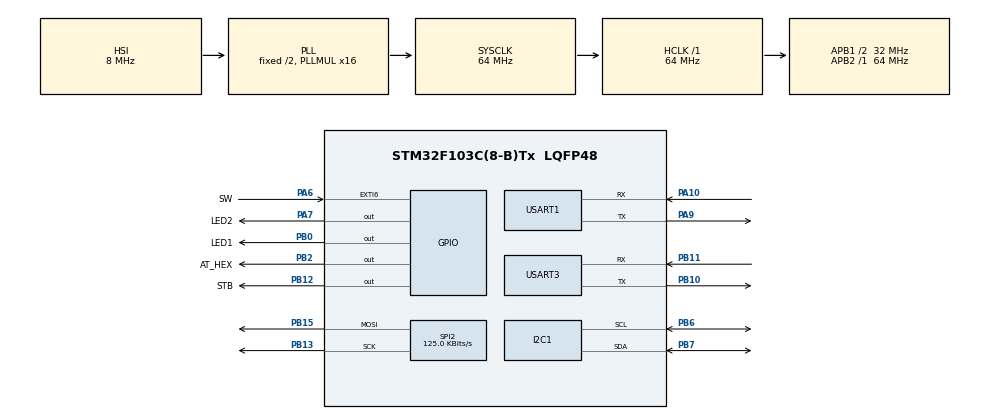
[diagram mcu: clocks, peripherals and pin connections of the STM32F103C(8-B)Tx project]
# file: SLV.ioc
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I2C1.DutyCycle=I2C_DUTYCYCLE_2
I2C1.I2C_Mode=I2C_Fast
Mcu.Family=STM32F1
Mcu.Name=STM32F103C(8-B)Tx
Mcu.Package=LQFP48
NVIC.EXTI9_5_IRQn=true\:2\:1\:true\:false\:true\:true\:true
NVIC.PriorityGroup=NVIC_PRIORITYGROUP_3
NVIC.TIM1_UP_IRQn=true\:2\:0\:true\:false\:true\:true\:true
NVIC.USART1_IRQn=true\:1\:0\:true\:false\:true\:true\:true
NVIC.USART3_IRQn=true\:1\:0\:true\:false\:true\:true\:true
PA10.Mode=Asynchronous
PA10.Signal=USART1_RX
PA13.Mode=Trace_Asynchronous_SW
PA13.Signal=SYS_JTMS-SWDIO
PA14.Mode=Trace_Asynchronous_SW
PA14.Signal=SYS_JTCK-SWCLK
PA6.GPIO_Label=SW
PA6.GPIO_ModeDefaultEXTI=GPIO_MODE_IT_RISING_FALLING
PA6.GPIO_PuPd=GPIO_PULLDOWN
PA6.Signal=GPXTI6
PA7.GPIO_Label=LED2
PA7.Signal=GPIO_Output
PA9.Mode=Asynchronous
PA9.Signal=USART1_TX
PB0.GPIO_Label=LED1
PB0.Signal=GPIO_Output
PB10.Mode=Asynchronous
PB10.Signal=USART3_TX
PB11.Mode=Asynchronous
PB11.Signal=USART3_RX
PB12.GPIO_Label=STB
PB12.PinState=GPIO_PIN_SET
PB12.Signal=GPIO_Output
PB13.Mode=TX_Only_Simplex_Unidirect_Master
PB13.Signal=SPI2_SCK
PB15.Mode=TX_Only_Simplex_Unidirect_Master
PB15.Signal=SPI2_MOSI
PB2.GPIO_Label=AT_HEX
PB2.PinState=GPIO_PIN_SET
PB2.Signal=GPIO_Output
PB3.Mode=Trace_Asynchronous_SW
PB3.Signal=SYS_JTDO-TRACESWO
PB6.Mode=I2C
PB6.Signal=I2C1_SCL
PB7.Mode=I2C
PB7.Signal=I2C1_SDA
ProjectManager.HeapSize=0x200
ProjectManager.StackSize=0x400
ProjectManager.TargetToolchain=MDK-ARM V5.27
RCC.AHBFreq_Value=64000000
RCC.APB1CLKDivider=RCC_HCLK_DIV2
RCC.APB1Freq_Value=32000000
RCC.APB1TimFreq_Value=64000000
RCC.APB2Freq_Value=64000000
RCC.APB2TimFreq_Value=64000000
RCC.HCLKFreq_Value=64000000
RCC.PLLMUL=RCC_PLL_MUL16
RCC.SYSCLKFreq_VALUE=64000000
RCC.SYSCLKSource=RCC_SYSCLKSOURCE_PLLCLK
RCC.USBFreq_Value=64000000
SPI2.BaudRatePrescaler=SPI_BAUDRATEPRESCALER_256
SPI2.CLKPhase=SPI_PHASE_2EDGE
SPI2.CLKPolarity=SPI_POLARITY_HIGH
SPI2.CalculateBaudRate=125.0 KBits/s
SPI2.Direction=SPI_DIRECTION_2LINES
SPI2.FirstBit=SPI_FIRSTBIT_LSB
SPI2.Mode=SPI_MODE_MASTER
SPI2.VirtualType=VM_MASTER
TIM1.Period=5
TIM1.Prescaler=63999
USART1.VirtualMode=VM_ASYNC
USART3.VirtualMode=VM_ASYNC
VP_TIM1_VS_ClockSourceINT.Mode=Internal
board=custom

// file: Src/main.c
/* USER CODE BEGIN Header */
/**
  ******************************************************************************
  * @file           : main.c
  * @brief          : Main program body
  ******************************************************************************
  * @attention
  *
  * <h2><center>&copy; Copyright (c) 2019 STMicroelectronics.
  * All rights reserved.</center></h2>
  *
  * This software component is licensed by ST under BSD 3-Clause license,
  * the "License"; You may not use this file except in compliance with the
  * License. You may obtain a copy of the License at:
  *                        opensource.org/licenses/BSD-3-Clause
  *
  ******************************************************************************
  */
/* USER CODE END Header */

#include "main.h"

/* USER CODE BEGIN Includes */
#include "main_task.h"
#include "ZB_USR.h"
#include "stdio.h"
#include "LD_TP_RH_display.h"
#include "sht21.h"

extern UART_HandleTypeDef huart1;
/* USER CODE END Includes */

/* USER CODE BEGIN PTD */
extern uint8_t x;
extern uint8_t y;
int fputc(int ch, FILE* stream)
{
    HAL_UART_Transmit(&huart1,(uint8_t*)&ch,1,10);
    return ch;
}
/* USER CODE END PTD */

I2C_HandleTypeDef hi2c1;

SPI_HandleTypeDef hspi2;

TIM_HandleTypeDef htim1;

UART_HandleTypeDef huart1;
UART_HandleTypeDef huart3;

void SystemClock_Config(void);
static void MX_GPIO_Init(void);
static void MX_I2C1_Init(void);
static void MX_SPI2_Init(void);
static void MX_USART1_UART_Init(void);
static void MX_USART3_UART_Init(void);
static void MX_TIM1_Init(void);

int main(void)
{

  /* MCU Configuration--------------------------------------------------------*/

  /* Reset of all peripherals, Initializes the Flash interface and the Systick. */
  HAL_Init();

  /* Configure the system clock */
  SystemClock_Config();

  /* USER CODE BEGIN SysInit */
	HAL_Delay(3000);
  /* USER CODE END SysInit */

  /* Initialize all configured peripherals */
  MX_GPIO_Init();
  MX_I2C1_Init();
  MX_SPI2_Init();
  MX_USART1_UART_Init();
  MX_USART3_UART_Init();
  MX_TIM1_Init();
  /* USER CODE BEGIN 2 */
	HAL_UART_Receive_IT(&huart3,&x,1);
	HAL_UART_Receive_IT(&huart1,&y,1);
	ZB_init_USR();
	LD_init();
	HAL_GPIO_WritePin(AT_HEX_GPIO_Port,AT_HEX_Pin,GPIO_PIN_RESET);
	HAL_Delay(100);

  /* USER CODE END 2 */

  /* Infinite loop */
  /* USER CODE BEGIN WHILE */
  while (1)
  {
		TR_task();
		LD_task();
		TX_task();
    /* USER CODE END WHILE */

  }
}

void SystemClock_Config(void)
{
  RCC_OscInitTypeDef RCC_OscInitStruct = {0};
  RCC_ClkInitTypeDef RCC_ClkInitStruct = {0};

  /** Initializes the CPU, AHB and APB busses clocks
  */
  RCC_OscInitStruct.OscillatorType = RCC_OSCILLATORTYPE_HSI;
  RCC_OscInitStruct.HSIState = RCC_HSI_ON;
  RCC_OscInitStruct.HSICalibrationValue = RCC_HSICALIBRATION_DEFAULT;
  RCC_OscInitStruct.PLL.PLLState = RCC_PLL_ON;
  RCC_OscInitStruct.PLL.PLLSource = RCC_PLLSOURCE_HSI_DIV2;
  RCC_OscInitStruct.PLL.PLLMUL = RCC_PLL_MUL16;
  if (HAL_RCC_OscConfig(&RCC_OscInitStruct) != HAL_OK)
  {
    Error_Handler();
  }
  /** Initializes the CPU, AHB and APB busses clocks
  */
  RCC_ClkInitStruct.ClockType = RCC_CLOCKTYPE_HCLK|RCC_CLOCKTYPE_SYSCLK
                              |RCC_CLOCKTYPE_PCLK1|RCC_CLOCKTYPE_PCLK2;
  RCC_ClkInitStruct.SYSCLKSource = RCC_SYSCLKSOURCE_PLLCLK;
  RCC_ClkInitStruct.AHBCLKDivider = RCC_SYSCLK_DIV1;
  RCC_ClkInitStruct.APB1CLKDivider = RCC_HCLK_DIV2;
  RCC_ClkInitStruct.APB2CLKDivider = RCC_HCLK_DIV1;

  if (HAL_RCC_ClockConfig(&RCC_ClkInitStruct, FLASH_LATENCY_2) != HAL_OK)
  {
    Error_Handler();
  }
}

static void MX_I2C1_Init(void)
{

  hi2c1.Instance = I2C1;
  hi2c1.Init.ClockSpeed = 400000;
  hi2c1.Init.DutyCycle = I2C_DUTYCYCLE_2;
  hi2c1.Init.OwnAddress1 = 0;
  hi2c1.Init.AddressingMode = I2C_ADDRESSINGMODE_7BIT;
  hi2c1.Init.DualAddressMode = I2C_DUALADDRESS_DISABLE;
  hi2c1.Init.OwnAddress2 = 0;
  hi2c1.Init.GeneralCallMode = I2C_GENERALCALL_DISABLE;
  hi2c1.Init.NoStretchMode = I2C_NOSTRETCH_DISABLE;
  if (HAL_I2C_Init(&hi2c1) != HAL_OK)
  {
    Error_Handler();
  }

}

static void MX_SPI2_Init(void)
{

  /* SPI2 parameter configuration*/
  hspi2.Instance = SPI2;
  hspi2.Init.Mode = SPI_MODE_MASTER;
  hspi2.Init.Direction = SPI_DIRECTION_2LINES;
  hspi2.Init.DataSize = SPI_DATASIZE_8BIT;
  hspi2.Init.CLKPolarity = SPI_POLARITY_HIGH;
  hspi2.Init.CLKPhase = SPI_PHASE_2EDGE;
  hspi2.Init.NSS = SPI_NSS_SOFT;
  hspi2.Init.BaudRatePrescaler = SPI_BAUDRATEPRESCALER_256;
  hspi2.Init.FirstBit = SPI_FIRSTBIT_LSB;
  hspi2.Init.TIMode = SPI_TIMODE_DISABLE;
  hspi2.Init.CRCCalculation = SPI_CRCCALCULATION_DISABLE;
  hspi2.Init.CRCPolynomial = 10;
  if (HAL_SPI_Init(&hspi2) != HAL_OK)
  {
    Error_Handler();
  }

}

static void MX_TIM1_Init(void)
{

  TIM_ClockConfigTypeDef sClockSourceConfig = {0};
  TIM_MasterConfigTypeDef sMasterConfig = {0};

  htim1.Instance = TIM1;
  htim1.Init.Prescaler = 63999;
  htim1.Init.CounterMode = TIM_COUNTERMODE_UP;
  htim1.Init.Period = 20;
  htim1.Init.ClockDivision = TIM_CLOCKDIVISION_DIV1;
  htim1.Init.RepetitionCounter = 0;
  htim1.Init.AutoReloadPreload = TIM_AUTORELOAD_PRELOAD_DISABLE;
  if (HAL_TIM_Base_Init(&htim1) != HAL_OK)
  {
    Error_Handler();
  }
  sClockSourceConfig.ClockSource = TIM_CLOCKSOURCE_INTERNAL;
  if (HAL_TIM_ConfigClockSource(&htim1, &sClockSourceConfig) != HAL_OK)
  {
    Error_Handler();
  }
  sMasterConfig.MasterOutputTrigger = TIM_TRGO_RESET;
  sMasterConfig.MasterSlaveMode = TIM_MASTERSLAVEMODE_DISABLE;
  if (HAL_TIMEx_MasterConfigSynchronization(&htim1, &sMasterConfig) != HAL_OK)
  {
    Error_Handler();
  }

}

static void MX_USART1_UART_Init(void)
{

  huart1.Instance = USART1;
  huart1.Init.BaudRate = 115200;
  huart1.Init.WordLength = UART_WORDLENGTH_8B;
  huart1.Init.StopBits = UART_STOPBITS_1;
  huart1.Init.Parity = UART_PARITY_NONE;
  huart1.Init.Mode = UART_MODE_TX_RX;
  huart1.Init.HwFlowCtl = UART_HWCONTROL_NONE;
  huart1.Init.OverSampling = UART_OVERSAMPLING_16;
  if (HAL_UART_Init(&huart1) != HAL_OK)
  {
    Error_Handler();
  }

}

static void MX_USART3_UART_Init(void)
{

  huart3.Instance = USART3;
  huart3.Init.BaudRate = 115200;
  huart3.Init.WordLength = UART_WORDLENGTH_8B;
  huart3.Init.StopBits = UART_STOPBITS_1;
  huart3.Init.Parity = UART_PARITY_NONE;
  huart3.Init.Mode = UART_MODE_TX_RX;
  huart3.Init.HwFlowCtl = UART_HWCONTROL_NONE;
  huart3.Init.OverSampling = UART_OVERSAMPLING_16;
  if (HAL_UART_Init(&huart3) != HAL_OK)
  {
    Error_Handler();
  }

}

static void MX_GPIO_Init(void)
{
  GPIO_InitTypeDef GPIO_InitStruct = {0};

  /* GPIO Ports Clock Enable */
  __HAL_RCC_GPIOA_CLK_ENABLE();
  __HAL_RCC_GPIOB_CLK_ENABLE();

  /*Configure GPIO pin Output Level */
  HAL_GPIO_WritePin(LED2_GPIO_Port, LED2_Pin, GPIO_PIN_RESET);

  /*Configure GPIO pin Output Level */
  HAL_GPIO_WritePin(LED1_GPIO_Port, LED1_Pin, GPIO_PIN_RESET);

  /*Configure GPIO pin Output Level */
  HAL_GPIO_WritePin(GPIOB, AT_HEX_Pin|STB_Pin, GPIO_PIN_SET);

  /*Configure GPIO pin : SW_Pin */
  GPIO_InitStruct.Pin = SW_Pin;
  GPIO_InitStruct.Mode = GPIO_MODE_IT_RISING_FALLING;
  GPIO_InitStruct.Pull = GPIO_PULLDOWN;
  HAL_GPIO_Init(SW_GPIO_Port, &GPIO_InitStruct);

  /*Configure GPIO pin : LED2_Pin */
  GPIO_InitStruct.Pin = LED2_Pin;
  GPIO_InitStruct.Mode = GPIO_MODE_OUTPUT_PP;
  GPIO_InitStruct.Pull = GPIO_NOPULL;
  GPIO_InitStruct.Speed = GPIO_SPEED_FREQ_LOW;
  HAL_GPIO_Init(LED2_GPIO_Port, &GPIO_InitStruct);

  /*Configure GPIO pins : LED1_Pin AT_HEX_Pin STB_Pin */
  GPIO_InitStruct.Pin = LED1_Pin|AT_HEX_Pin|STB_Pin;
  GPIO_InitStruct.Mode = GPIO_MODE_OUTPUT_PP;
  GPIO_InitStruct.Pull = GPIO_NOPULL;
  GPIO_InitStruct.Speed = GPIO_SPEED_FREQ_LOW;
  HAL_GPIO_Init(GPIOB, &GPIO_InitStruct);

  /* EXTI interrupt init*/
  HAL_NVIC_SetPriority(EXTI9_5_IRQn, 2, 1);
  HAL_NVIC_EnableIRQ(EXTI9_5_IRQn);

}

void Error_Handler(void)
{
}

/************************ (C) COPYRIGHT STMicroelectronics *****END OF FILE****/
